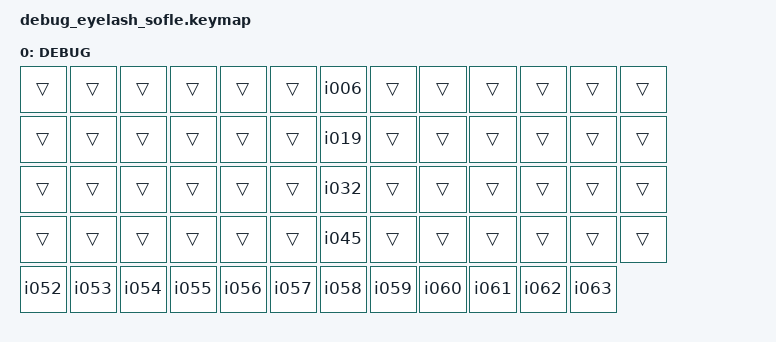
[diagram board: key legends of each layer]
/*
 * DEBUG keymap — identify matrix positions on the Eyelash Sofle.
 *
 * Every matrix position types its own index as [NNN] (space-separated) so you
 * can press a key in a text editor and read which position it is.
 *
 * HOW TO USE:
 *   1. Build & flash this to the RIGHT half (and left if you want).
 *   2. Open a text editor on your PC, plug in via USB (so it types over USB).
 *   3. Press each thumb key and each joystick direction/press.
 *   4. Note which [NNN] appears for each physical key.
 *   5. Report back, then we wire the real keymap.
 *
 * Thumb positions: 52-57 (left), 58-63 (right).
 * Joystick: 6 (up), 19 (down), 32 (left), 45 (right), 58 (press) - to verify.
 */

#include <behaviors.dtsi>
#include <dt-bindings/zmk/keys.h>

/ {
    macros {
        i006: i006 { compatible = "zmk,behavior-macro"; #binding-cells = <0>; bindings = <&kp N0 &kp N0 &kp N6 &kp SPACE>; };
        i019: i019 { compatible = "zmk,behavior-macro"; #binding-cells = <0>; bindings = <&kp N0 &kp N1 &kp N9 &kp SPACE>; };
        i032: i032 { compatible = "zmk,behavior-macro"; #binding-cells = <0>; bindings = <&kp N0 &kp N3 &kp N2 &kp SPACE>; };
        i045: i045 { compatible = "zmk,behavior-macro"; #binding-cells = <0>; bindings = <&kp N0 &kp N4 &kp N5 &kp SPACE>; };
        i052: i052 { compatible = "zmk,behavior-macro"; #binding-cells = <0>; bindings = <&kp N0 &kp N5 &kp N2 &kp SPACE>; };
        i053: i053 { compatible = "zmk,behavior-macro"; #binding-cells = <0>; bindings = <&kp N0 &kp N5 &kp N3 &kp SPACE>; };
        i054: i054 { compatible = "zmk,behavior-macro"; #binding-cells = <0>; bindings = <&kp N0 &kp N5 &kp N4 &kp SPACE>; };
        i055: i055 { compatible = "zmk,behavior-macro"; #binding-cells = <0>; bindings = <&kp N0 &kp N5 &kp N5 &kp SPACE>; };
        i056: i056 { compatible = "zmk,behavior-macro"; #binding-cells = <0>; bindings = <&kp N0 &kp N5 &kp N6 &kp SPACE>; };
        i057: i057 { compatible = "zmk,behavior-macro"; #binding-cells = <0>; bindings = <&kp N0 &kp N5 &kp N7 &kp SPACE>; };
        i058: i058 { compatible = "zmk,behavior-macro"; #binding-cells = <0>; bindings = <&kp N0 &kp N5 &kp N8 &kp SPACE>; };
        i059: i059 { compatible = "zmk,behavior-macro"; #binding-cells = <0>; bindings = <&kp N0 &kp N5 &kp N9 &kp SPACE>; };
        i060: i060 { compatible = "zmk,behavior-macro"; #binding-cells = <0>; bindings = <&kp N0 &kp N6 &kp N0 &kp SPACE>; };
        i061: i061 { compatible = "zmk,behavior-macro"; #binding-cells = <0>; bindings = <&kp N0 &kp N6 &kp N1 &kp SPACE>; };
        i062: i062 { compatible = "zmk,behavior-macro"; #binding-cells = <0>; bindings = <&kp N0 &kp N6 &kp N2 &kp SPACE>; };
        i063: i063 { compatible = "zmk,behavior-macro"; #binding-cells = <0>; bindings = <&kp N0 &kp N6 &kp N3 &kp SPACE>; };
    };

    keymap {
        compatible = "zmk,keymap";

        base {
            display-name = "DEBUG";
            bindings = <
&trans &trans &trans &trans &trans &trans    &i006    &trans &trans &trans &trans &trans &trans
&trans &trans &trans &trans &trans &trans    &i019    &trans &trans &trans &trans &trans &trans
&trans &trans &trans &trans &trans &trans    &i032    &trans &trans &trans &trans &trans &trans
&trans &trans &trans &trans &trans &trans    &i045    &trans &trans &trans &trans &trans &trans
&i052  &i053  &i054  &i055  &i056  &i057     &i058    &i059  &i060  &i061  &i062  &i063
            >;
        };
    };
};
